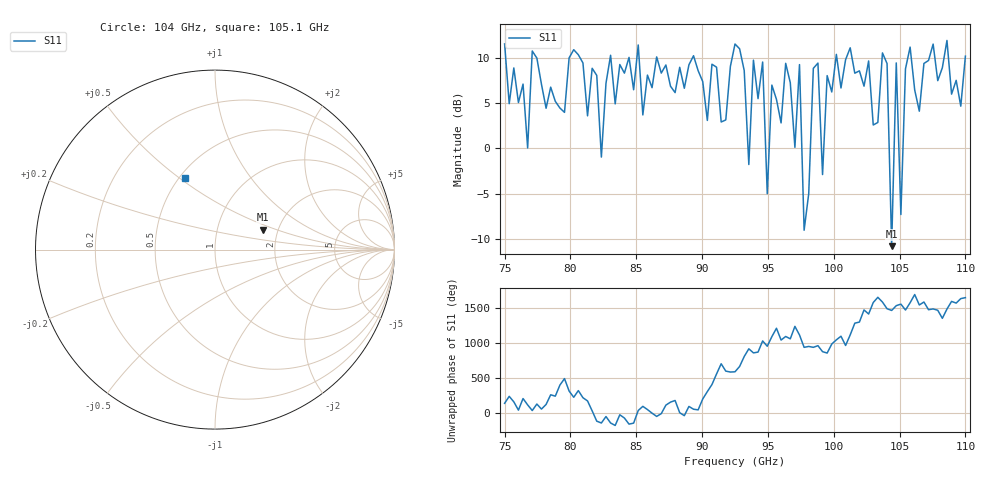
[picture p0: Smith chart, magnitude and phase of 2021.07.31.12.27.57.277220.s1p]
!Created with skrf (http://scikit-rf.org).
# GHz S RI R 50.0
!freq ReS11 ImS11
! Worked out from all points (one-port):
!   101 points, 75 GHz to 110 GHz, reference 50 ohm
!   lowest |S11| = -10.8 dB at 104.4 GHz (marker M1), VSWR 1.81, Z = 83.3 + j20.4 ohm
!   |S11| at or under -10 dB: 104.3866 GHz to 104.4134 GHz (26.76 MHz wide, 0.0256 % of centre)
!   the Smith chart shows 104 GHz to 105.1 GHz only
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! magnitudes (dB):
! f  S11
! 75 GHz  11.5
! 76.75 GHz  0.1
! 77.1 GHz  10.7
! 79.55 GHz  4.0
! 81.65 GHz  8.8
! 82.35 GHz  -1.0
! 83.75 GHz  9.2
! 88.3 GHz  8.9
! 91.45 GHz  2.9
! 92.5 GHz  11.5
! 93.55 GHz  -1.8
! 93.9 GHz  9.7
! 94.6 GHz  9.5
! 94.95 GHz  -5.0
! 95.3 GHz  7.0
! 97.05 GHz  0.1
! 97.4 GHz  9.2
! 97.75 GHz  -9.0
! 98.45 GHz  8.8
! 99.15 GHz  -2.9
! 99.5 GHz  8.0
! 101.2 GHz  11.1
! 104 GHz  9.3
! 104.4 GHz  -10.8
! 104.8 GHz  9.4
! 105.1 GHz  -7.3
! 105.8 GHz  11.2
! 110 GHz  10.2
